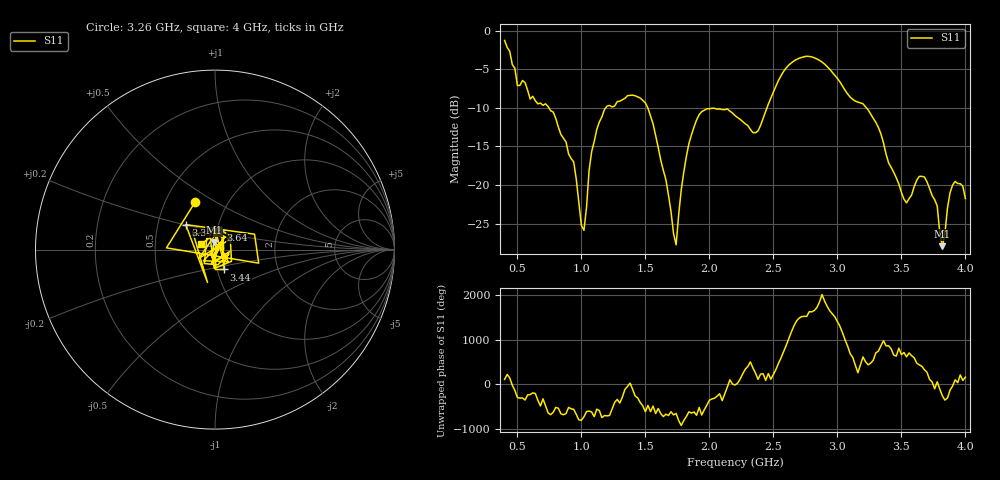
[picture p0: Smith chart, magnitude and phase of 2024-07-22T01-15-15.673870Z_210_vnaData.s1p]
!Created with skrf (http://scikit-rf.org).
# Hz S RI R 50.0
!freq ReS11 ImS11
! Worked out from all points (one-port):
!   181 points, 400 MHz to 4 GHz, reference 50 ohm
!   lowest |S11| = -27.9 dB at 3.82 GHz (marker M1), VSWR 1.08, Z = 49.3 + j3.93 ohm
!   |S11| at or under -10 dB: 745.9 MHz to 1.19 GHz (443.8 MHz wide, 45.9 % of centre); 1.519 GHz to 2.45 GHz (930.8 MHz wide, 46.9 % of centre); 3.227 GHz to end of sweep
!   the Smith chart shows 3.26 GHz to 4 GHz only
!   S11 on the Smith chart (normalised r, x): 3.26 GHz: 0.70, +0.41; 3.34 GHz: 0.70, +0.20; 3.44 GHz: 1.07, -0.24; 3.64 GHz: 1.04, +0.23; 4 GHz: 0.86, +0.05
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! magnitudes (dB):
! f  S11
! 400 MHz  -1.3
! 500 MHz  -7.1
! 860 MHz  -13.9
! 940 MHz  -17.0
! 1.02 GHz  -25.9
! 1.06 GHz  -18.1
! 1.12 GHz  -12.8
! 1.3 GHz  -9.1
! 1.5 GHz  -9.4
! 1.66 GHz  -19.3
! 1.74 GHz  -27.7
! 1.76 GHz  -23.8
! 1.84 GHz  -14.6
! 1.92 GHz  -10.9
! 2.2 GHz  -11.0
! 2.38 GHz  -13.0
! 2.66 GHz  -3.9
! 2.86 GHz  -3.9
! 3.1 GHz  -8.6
! 3.26 GHz  -10.8
! 3.34 GHz  -13.4
! 3.44 GHz  -18.3
! 3.56 GHz  -21.8
! 3.64 GHz  -18.9
! 3.78 GHz  -22.7
! 3.82 GHz  -27.9
! 3.9 GHz  -20.0
! 4 GHz  -21.8
